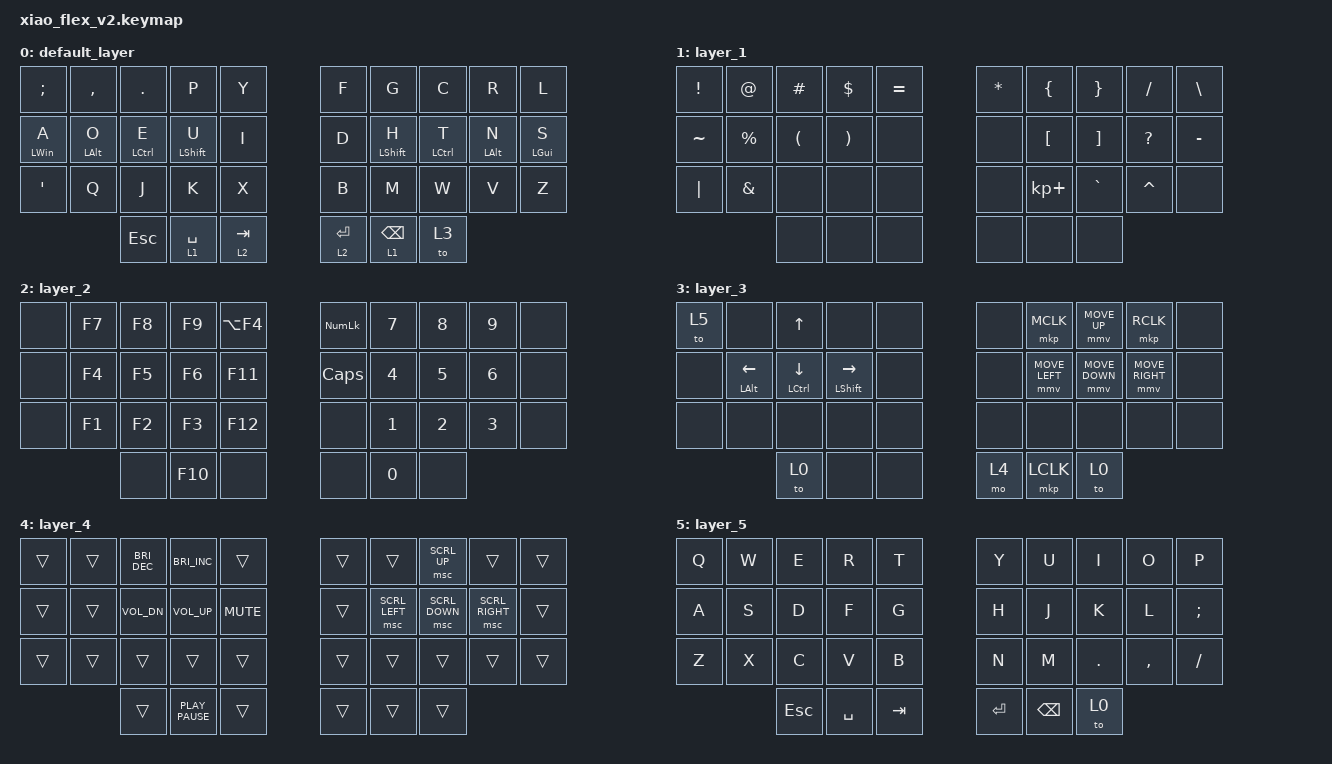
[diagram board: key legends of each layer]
/*
 * Copyright (c) 2020 The ZMK Contributors
 *
 * SPDX-License-Identifier: MIT
 */

#define ZMK_POINTING_DEFAULT_MOVE_VAL 2000  // default: 600
#define ZMK_POINTING_DEFAULT_SCRL_VAL 16    // default: 10

#include <behaviors.dtsi>
#include <dt-bindings/zmk/keys.h>
#include <dt-bindings/zmk/pointing.h>

&mt { flavor = "balanced"; };

&mmv {
};

&msc { acceleration-exponent = <1>; };

/ {
    keymap {
        compatible = "zmk,keymap";

        default_layer {
            bindings = <
&kp SEMICOLON   &kp COMMA       &kp PERIOD          &kp P             &kp Y        &kp F        &kp G             &kp C               &kp R           &kp L
&mt LEFT_WIN A  &mt LEFT_ALT O  &mt LEFT_CONTROL E  &mt LEFT_SHIFT U  &kp I        &kp D        &mt LEFT_SHIFT H  &mt LEFT_CONTROL T  &mt LEFT_ALT N  &mt LEFT_GUI S
&kp SQT         &kp Q           &kp J               &kp K             &kp X        &kp B        &kp M             &kp W               &kp V           &kp Z
                                &kp ESC             &lt 1 SPACE       &lt 2 TAB    &lt 2 ENTER  &lt 1 BACKSPACE   &to 3
            >;
        };

        layer_1 {
            bindings = <
&kp EXCLAMATION  &kp AT_SIGN    &kp POUND             &kp DOLLAR             &kp EQUAL    &kp ASTERISK  &kp LEFT_BRACE    &kp RIGHT_BRACE    &kp SLASH     &kp BACKSLASH
&kp TILDE        &kp PERCENT    &kp LEFT_PARENTHESIS  &kp RIGHT_PARENTHESIS  &none        &none         &kp LEFT_BRACKET  &kp RIGHT_BRACKET  &kp QUESTION  &kp MINUS
&kp PIPE         &kp AMPERSAND  &none                 &none                  &none        &none         &kp KP_PLUS       &kp GRAVE          &kp CARET     &none
                                &none                 &none                  &none        &none         &none             &none
            >;
        };

        layer_2 {
            bindings = <
&none  &kp F7  &kp F8  &kp F9   &kp LA(F4)    &kp KP_NUMLOCK  &kp N7  &kp N8  &kp N9  &none
&none  &kp F4  &kp F5  &kp F6   &kp F11       &kp CAPSLOCK    &kp N4  &kp N5  &kp N6  &none
&none  &kp F1  &kp F2  &kp F3   &kp F12       &none           &kp N1  &kp N2  &kp N3  &none
               &none   &kp F10  &none         &none           &kp N0  &none
            >;
        };

        layer_3 {
            bindings = <
&to 5  &none                    &kp UP                &none                 &none    &none  &mkp MCLK       &mmv MOVE_UP    &mkp RCLK        &none
&none  &mt LEFT_ALT LEFT_ARROW  &mt LCTRL DOWN_ARROW  &mt LEFT_SHIFT RIGHT  &none    &none  &mmv MOVE_LEFT  &mmv MOVE_DOWN  &mmv MOVE_RIGHT  &none
&none  &none                    &none                 &none                 &none    &none  &none           &none           &none            &none
                                &to 0                 &none                 &none    &mo 4  &mkp LCLK       &to 0
            >;
        };

        layer_4 {
            bindings = <
&trans  &trans  &kp C_BRIGHTNESS_DEC  &kp C_BRIGHTNESS_INC  &trans        &trans  &trans          &msc SCRL_UP    &trans           &trans
&trans  &trans  &kp C_VOL_DN          &kp C_VOLUME_UP       &kp K_MUTE    &trans  &msc SCRL_LEFT  &msc SCRL_DOWN  &msc SCRL_RIGHT  &trans
&trans  &trans  &trans                &trans                &trans        &trans  &trans          &trans          &trans           &trans
                &trans                &kp K_PLAY_PAUSE      &trans        &trans  &trans          &trans
            >;
        };

        layer_5 {
            bindings = <
&kp Q  &kp W  &kp E    &kp R      &kp T      &kp Y    &kp U     &kp I    &kp O      &kp P
&kp A  &kp S  &kp D    &kp F      &kp G      &kp H    &kp J     &kp K    &kp L      &kp SEMI
&kp Z  &kp X  &kp C    &kp V      &kp B      &kp N    &kp M     &kp DOT  &kp COMMA  &kp FSLH
              &kp ESC  &kp SPACE  &kp TAB    &kp RET  &kp BSPC  &to 0
            >;
        };
    };
};
